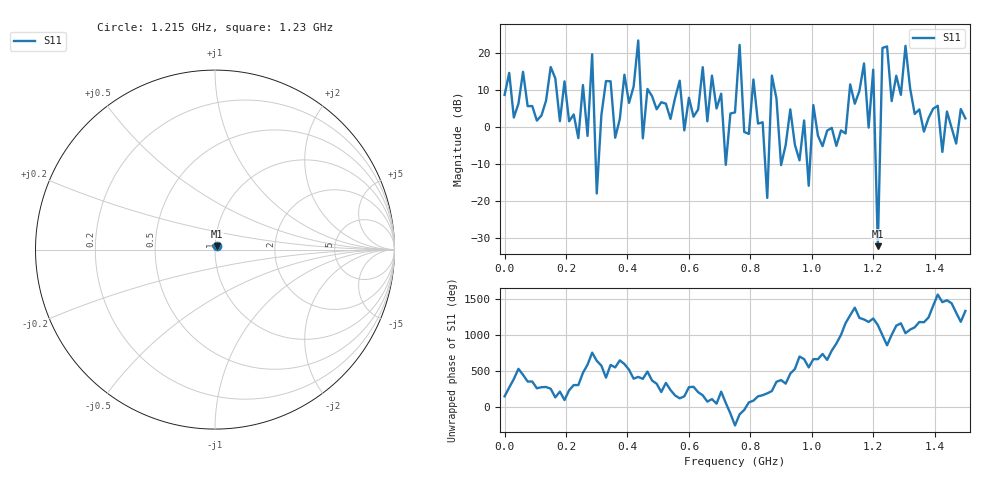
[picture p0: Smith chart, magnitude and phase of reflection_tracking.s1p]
! Created with skrf 1.8.0 (http://scikit-rf.org).
# Hz S RI R 50.0
!freq ReS11 ImS11
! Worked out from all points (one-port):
!   101 points, 50 kHz to 1.5 GHz, reference 50 ohm
!   lowest |S11| = -32.3 dB at 1.215 GHz (marker M1), VSWR 1.05, Z = 51.2 + j2.15 ohm
!   |S11| at or under -10 dB: 296.8 MHz to 305.7 MHz (8.89 MHz wide, 2.95 % of centre); 719.8001 MHz to 720.3389 MHz (538.9 kHz wide, 0.0748 % of centre); 848.3 MHz to 859.2 MHz (10.96 MHz wide, 1.28 % of centre) (the widest 3 of 6)
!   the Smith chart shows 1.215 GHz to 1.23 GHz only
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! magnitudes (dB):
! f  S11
! 50 kHz  8.6
! 195 MHz  12.3
! 270 MHz  -2.5
! 285 MHz  19.6
! 300 MHz  -18.0
! 330 MHz  12.3
! 375 MHz  2.1
! 435 MHz  23.3
! 450 MHz  -3.1
! 570 MHz  12.4
! 675 MHz  13.8
! 720 MHz  -10.3
! 750 MHz  3.9
! 765 MHz  22.1
! 780 MHz  -1.4
! 810 MHz  12.8
! 855 MHz  -19.2
! 870 MHz  13.8
! 900 MHz  -10.4
! 945 MHz  -4.9
! 990 MHz  -16.0
! 1.005 GHz  5.9
! 1.125 GHz  11.5
! 1.2 GHz  15.4
! 1.215 GHz  -32.3
! 1.23 GHz  21.3
! 1.32 GHz  10.4
! 1.5 GHz  2.3
